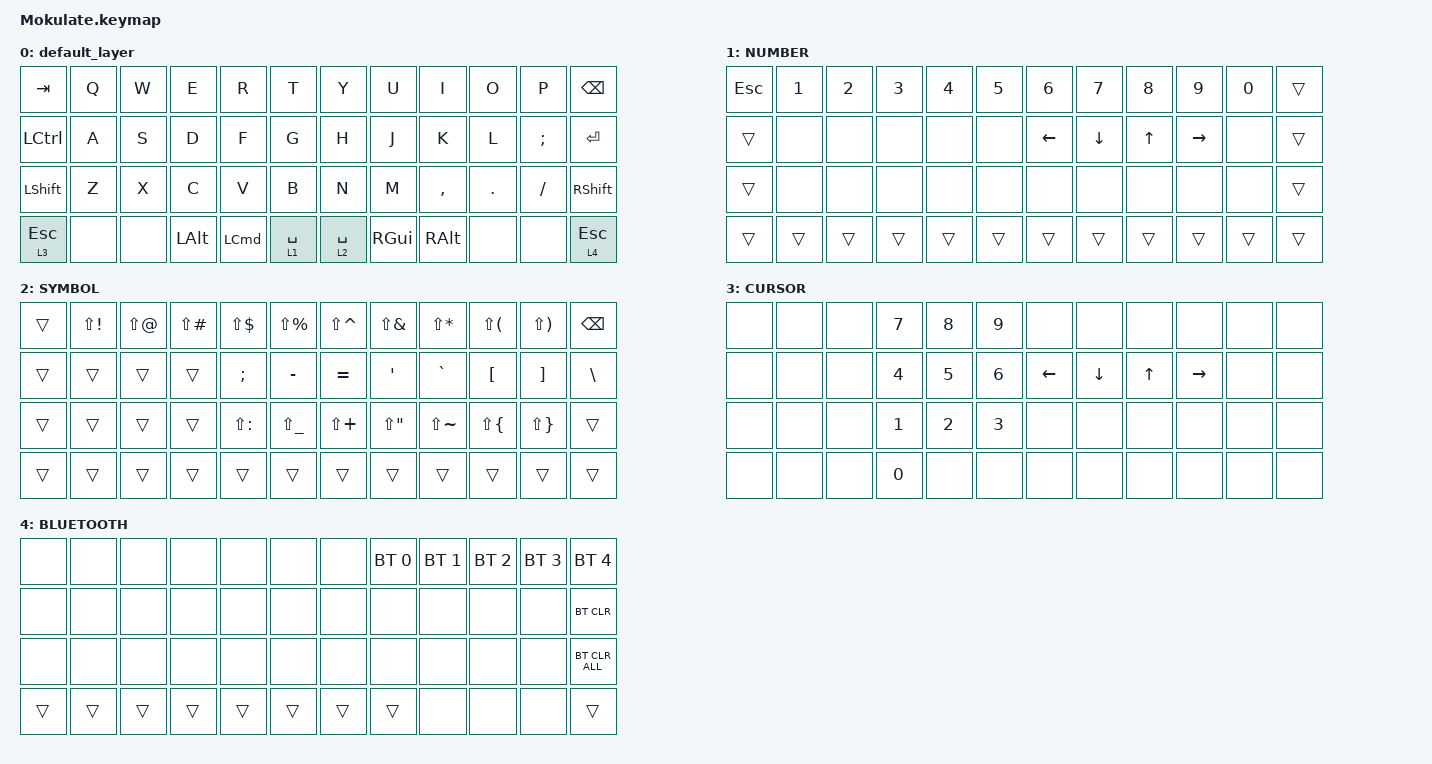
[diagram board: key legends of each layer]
#include <behaviors.dtsi>
#include <dt-bindings/zmk/bt.h>
#include <dt-bindings/zmk/keys.h>

/ {
    keymap {
        compatible = "zmk,keymap";

        default_layer {
            bindings = <
&kp TAB       &kp Q  &kp W  &kp E         &kp R             &kp T          &kp Y        &kp U     &kp I      &kp O    &kp P     &kp BSPC
&kp LCTRL     &kp A  &kp S  &kp D         &kp F             &kp G          &kp H        &kp J     &kp K      &kp L    &kp SEMI  &kp RET
&kp LSHFT     &kp Z  &kp X  &kp C         &kp V             &kp B          &kp N        &kp M     &kp COMMA  &kp DOT  &kp FSLH  &kp RSHFT
&lt 3 ESCAPE  &none  &none  &kp LEFT_ALT  &kp LEFT_COMMAND  &lt 1 SPACE    &lt 2 SPACE  &kp RGUI  &kp RALT   &none    &none     &lt 4 ESCAPE
            >;
        };

        NUMBER {
            bindings = <
&kp ESC  &kp N1  &kp N2  &kp N3  &kp N4  &kp N5    &kp N6    &kp N7    &kp N8  &kp N9     &kp N0  &trans
&trans   &none   &none   &none   &none   &none     &kp LEFT  &kp DOWN  &kp UP  &kp RIGHT  &none   &trans
&trans   &none   &none   &none   &none   &none     &none     &none     &none   &none      &none   &trans
&trans   &trans  &trans  &trans  &trans  &trans    &trans    &trans    &trans  &trans     &trans  &trans
            >;
        };

        SYMBOL {
            bindings = <
&trans  &kp LS(EXCL)  &kp LS(AT)  &kp LS(POUND)  &kp LS(DLLR)   &kp LS(PRCNT)    &kp LS(CARET)  &kp LS(AMPS)  &kp LS(STAR)   &kp LS(LPAR)  &kp LS(RPAR)  &kp BSPC
&trans  &trans        &trans      &trans         &kp SEMI       &kp MINUS        &kp EQUAL      &kp APOS      &kp GRAVE      &kp LBKT      &kp RBKT      &kp BSLH
&trans  &trans        &trans      &trans         &kp LS(COLON)  &kp LS(UNDER)    &kp LS(PLUS)   &kp LS(DQT)   &kp LS(TILDE)  &kp LS(LBRC)  &kp LS(RBRC)  &trans
&trans  &trans        &trans      &trans         &trans         &trans           &trans         &trans        &trans         &trans        &trans        &trans
            >;
        };

        CURSOR {
            bindings = <
&none  &none  &none  &kp N7  &kp N8  &kp N9    &none     &none     &none   &none      &none  &none
&none  &none  &none  &kp N4  &kp N5  &kp N6    &kp LEFT  &kp DOWN  &kp UP  &kp RIGHT  &none  &none
&none  &none  &none  &kp N1  &kp N2  &kp N3    &none     &none     &none   &none      &none  &none
&none  &none  &none  &kp N0  &none   &none     &none     &none     &none   &none      &none  &none
            >;
        };

        BLUETOOTH {
            bindings = <
&none   &none   &none   &none   &none   &none     &none   &bt BT_SEL 0  &bt BT_SEL 1  &bt BT_SEL 2  &bt BT_SEL 3  &bt BT_SEL 4
&none   &none   &none   &none   &none   &none     &none   &none         &none         &none         &none         &bt BT_CLR
&none   &none   &none   &none   &none   &none     &none   &none         &none         &none         &none         &bt BT_CLR_ALL
&trans  &trans  &trans  &trans  &trans  &trans    &trans  &trans        &none         &none         &none         &trans
            >;
        };
    };
};
